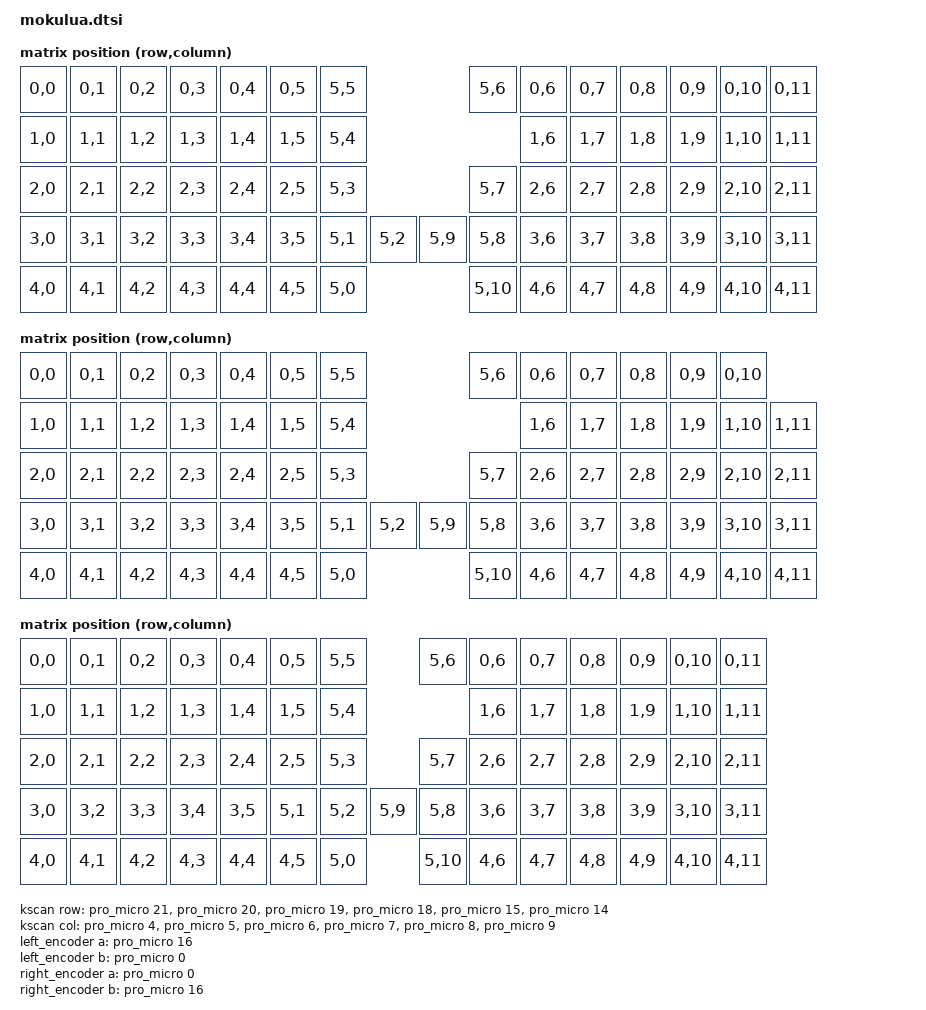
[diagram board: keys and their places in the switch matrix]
/*
 * Copyright (c) 2023 The ZMK Contributors
 *
 * SPDX-License-Identifier: MIT
 */

#include <dt-bindings/zmk/matrix_transform.h>

/ {
    chosen {
        zephyr,display = &oled;
        zmk,kscan = &kscan;
        zmk,matrix-transform = &standard_all_transform;
    };

    standard_all_transform: keymap_transform_0 {
        compatible = "zmk,matrix-transform";
        columns = <12>;
        rows = <6>;

        map = <
RC(0,0) RC(0,1) RC(0,2) RC(0,3) RC(0,4) RC(0,5) RC(5,5)                     RC(5,6) RC(0,6) RC(0,7) RC(0,8) RC(0,9) RC(0,10) RC(0,11)
RC(1,0) RC(1,1) RC(1,2) RC(1,3) RC(1,4) RC(1,5) RC(5,4)                             RC(1,6) RC(1,7) RC(1,8) RC(1,9) RC(1,10) RC(1,11)
RC(2,0) RC(2,1) RC(2,2) RC(2,3) RC(2,4) RC(2,5) RC(5,3)                     RC(5,7) RC(2,6) RC(2,7) RC(2,8) RC(2,9) RC(2,10) RC(2,11)
RC(3,0) RC(3,1) RC(3,2) RC(3,3) RC(3,4) RC(3,5) RC(5,1) RC(5,2)     RC(5,9) RC(5,8) RC(3,6) RC(3,7) RC(3,8) RC(3,9) RC(3,10) RC(3,11)
RC(4,0) RC(4,1) RC(4,2) RC(4,3) RC(4,4) RC(4,5) RC(5,0)                    RC(5,10) RC(4,6) RC(4,7) RC(4,8) RC(4,9) RC(4,10) RC(4,11)
        >;
    };

    standard_full_backspace_transform: keymap_transform_1 {
        compatible = "zmk,matrix-transform";
        columns = <12>;
        rows = <6>;

        map = <
RC(0,0) RC(0,1) RC(0,2) RC(0,3) RC(0,4) RC(0,5) RC(5,5)                     RC(5,6) RC(0,6) RC(0,7) RC(0,8) RC(0,9)     RC(0,10)
RC(1,0) RC(1,1) RC(1,2) RC(1,3) RC(1,4) RC(1,5) RC(5,4)                             RC(1,6) RC(1,7) RC(1,8) RC(1,9) RC(1,10) RC(1,11)
RC(2,0) RC(2,1) RC(2,2) RC(2,3) RC(2,4) RC(2,5) RC(5,3)                     RC(5,7) RC(2,6) RC(2,7) RC(2,8) RC(2,9) RC(2,10) RC(2,11)
RC(3,0) RC(3,1) RC(3,2) RC(3,3) RC(3,4) RC(3,5) RC(5,1) RC(5,2)     RC(5,9) RC(5,8) RC(3,6) RC(3,7) RC(3,8) RC(3,9) RC(3,10) RC(3,11)
RC(4,0) RC(4,1) RC(4,2) RC(4,3) RC(4,4) RC(4,5) RC(5,0)                    RC(5,10) RC(4,6) RC(4,7) RC(4,8) RC(4,9) RC(4,10) RC(4,11)
        >;
    };

    standard_full_lshift_transform: keymap_transform_2 {
        compatible = "zmk,matrix-transform";
        columns = <12>;
        rows = <6>;

        map = <
RC(0,0) RC(0,1) RC(0,2) RC(0,3) RC(0,4) RC(0,5) RC(5,5)                     RC(5,6) RC(0,6) RC(0,7) RC(0,8) RC(0,9) RC(0,10) RC(0,11)
RC(1,0) RC(1,1) RC(1,2) RC(1,3) RC(1,4) RC(1,5) RC(5,4)                             RC(1,6) RC(1,7) RC(1,8) RC(1,9) RC(1,10) RC(1,11)
RC(2,0) RC(2,1) RC(2,2) RC(2,3) RC(2,4) RC(2,5) RC(5,3)                     RC(5,7) RC(2,6) RC(2,7) RC(2,8) RC(2,9) RC(2,10) RC(2,11)
    RC(3,0)     RC(3,2) RC(3,3) RC(3,4) RC(3,5) RC(5,1) RC(5,2)     RC(5,9) RC(5,8) RC(3,6) RC(3,7) RC(3,8) RC(3,9) RC(3,10) RC(3,11)
RC(4,0) RC(4,1) RC(4,2) RC(4,3) RC(4,4) RC(4,5) RC(5,0)                    RC(5,10) RC(4,6) RC(4,7) RC(4,8) RC(4,9) RC(4,10) RC(4,11)
        >;
    };

    standard_full_rshift_transform: keymap_transform_3 {
        compatible = "zmk,matrix-transform";
        columns = <12>;
        rows = <6>;

        map = <
RC(0,0) RC(0,1) RC(0,2) RC(0,3) RC(0,4) RC(0,5) RC(5,5)                     RC(5,6) RC(0,6) RC(0,7) RC(0,8) RC(0,9) RC(0,10) RC(0,11)
RC(1,0) RC(1,1) RC(1,2) RC(1,3) RC(1,4) RC(1,5) RC(5,4)                             RC(1,6) RC(1,7) RC(1,8) RC(1,9) RC(1,10) RC(1,11)
RC(2,0) RC(2,1) RC(2,2) RC(2,3) RC(2,4) RC(2,5) RC(5,3)                     RC(5,7) RC(2,6) RC(2,7) RC(2,8) RC(2,9) RC(2,10) RC(2,11)
RC(3,0) RC(3,1) RC(3,2) RC(3,3) RC(3,4) RC(3,5) RC(5,1) RC(5,2)     RC(5,9) RC(5,8) RC(3,6) RC(3,7) RC(3,8) RC(3,9)      RC(3,11)
RC(4,0) RC(4,1) RC(4,2) RC(4,3) RC(4,4) RC(4,5) RC(5,0)                    RC(5,10) RC(4,6) RC(4,7) RC(4,8) RC(4,9) RC(4,10) RC(4,11)
        >;
    };

    standard_full_backspace_full_lshift_transform: keymap_transform_4 {
        compatible = "zmk,matrix-transform";
        columns = <12>;
        rows = <6>;

        map = <
RC(0,0) RC(0,1) RC(0,2) RC(0,3) RC(0,4) RC(0,5) RC(5,5)                     RC(5,6) RC(0,6) RC(0,7) RC(0,8) RC(0,9)     RC(0,10)
RC(1,0) RC(1,1) RC(1,2) RC(1,3) RC(1,4) RC(1,5) RC(5,4)                             RC(1,6) RC(1,7) RC(1,8) RC(1,9) RC(1,10) RC(1,11)
RC(2,0) RC(2,1) RC(2,2) RC(2,3) RC(2,4) RC(2,5) RC(5,3)                     RC(5,7) RC(2,6) RC(2,7) RC(2,8) RC(2,9) RC(2,10) RC(2,11)
    RC(3,0)     RC(3,2) RC(3,3) RC(3,4) RC(3,5) RC(5,1) RC(5,2)     RC(5,9) RC(5,8) RC(3,6) RC(3,7) RC(3,8) RC(3,9) RC(3,10) RC(3,11)
RC(4,0) RC(4,1) RC(4,2) RC(4,3) RC(4,4) RC(4,5) RC(5,0)                    RC(5,10) RC(4,6) RC(4,7) RC(4,8) RC(4,9) RC(4,10) RC(4,11)
        >;
    };

    standard_full_backspace_full_rshift_transform: keymap_transform_5 {
        compatible = "zmk,matrix-transform";
        columns = <12>;
        rows = <6>;

        map = <
RC(0,0) RC(0,1) RC(0,2) RC(0,3) RC(0,4) RC(0,5) RC(5,5)                     RC(5,6) RC(0,6) RC(0,7) RC(0,8) RC(0,9)     RC(0,10)
RC(1,0) RC(1,1) RC(1,2) RC(1,3) RC(1,4) RC(1,5) RC(5,4)                             RC(1,6) RC(1,7) RC(1,8) RC(1,9) RC(1,10) RC(1,11)
RC(2,0) RC(2,1) RC(2,2) RC(2,3) RC(2,4) RC(2,5) RC(5,3)                     RC(5,7) RC(2,6) RC(2,7) RC(2,8) RC(2,9) RC(2,10) RC(2,11)
RC(3,0) RC(3,1) RC(3,2) RC(3,3) RC(3,4) RC(3,5) RC(5,1) RC(5,2)     RC(5,9) RC(5,8) RC(3,6) RC(3,7) RC(3,8) RC(3,9)      RC(3,11)
RC(4,0) RC(4,1) RC(4,2) RC(4,3) RC(4,4) RC(4,5) RC(5,0)                    RC(5,10) RC(4,6) RC(4,7) RC(4,8) RC(4,9) RC(4,10) RC(4,11)
        >;
    };

    standard_full_backspace_full_lshift_full_rshift_transform: keymap_transform_6 {
        compatible = "zmk,matrix-transform";
        columns = <12>;
        rows = <6>;

        map = <
RC(0,0) RC(0,1) RC(0,2) RC(0,3) RC(0,4) RC(0,5) RC(5,5)                     RC(5,6) RC(0,6) RC(0,7) RC(0,8) RC(0,9)     RC(0,10)
RC(1,0) RC(1,1) RC(1,2) RC(1,3) RC(1,4) RC(1,5) RC(5,4)                             RC(1,6) RC(1,7) RC(1,8) RC(1,9) RC(1,10) RC(1,11)
RC(2,0) RC(2,1) RC(2,2) RC(2,3) RC(2,4) RC(2,5) RC(5,3)                     RC(5,7) RC(2,6) RC(2,7) RC(2,8) RC(2,9) RC(2,10) RC(2,11)
    RC(3,0)     RC(3,2) RC(3,3) RC(3,4) RC(3,5) RC(5,1) RC(5,2)     RC(5,9) RC(5,8) RC(3,6) RC(3,7) RC(3,8) RC(3,9)      RC(3,11)
RC(4,0) RC(4,1) RC(4,2) RC(4,3) RC(4,4) RC(4,5) RC(5,0)                    RC(5,10) RC(4,6) RC(4,7) RC(4,8) RC(4,9) RC(4,10) RC(4,11)
        >;
    };

    mirrored_all_transform: keymap_transform_7 {
        compatible = "zmk,matrix-transform";
        columns = <12>;
        rows = <6>;

        map = <
RC(0,0) RC(0,1) RC(0,2) RC(0,3) RC(0,4) RC(0,5) RC(5,5)                     RC(5,11) RC(0,11) RC(0,10) RC(0,9) RC(0,8) RC(0,7) RC(0,6)
RC(1,0) RC(1,1) RC(1,2) RC(1,3) RC(1,4) RC(1,5) RC(5,4)                     RC(5,10) RC(1,11) RC(1,10) RC(1,9) RC(1,8) RC(1,7) RC(1,6)
RC(2,0) RC(2,1) RC(2,2) RC(2,3) RC(2,4) RC(2,5) RC(5,3)                      RC(5,9) RC(2,11) RC(2,10) RC(2,9) RC(2,8) RC(2,7) RC(2,6)
RC(3,0) RC(3,1) RC(3,2) RC(3,3) RC(3,4) RC(3,5) RC(5,1) RC(5,2)     RC(5,8)  RC(5,7) RC(3,11) RC(3,10) RC(3,9) RC(3,8) RC(3,7) RC(3,6)
RC(4,0) RC(4,1) RC(4,2) RC(4,3) RC(4,4) RC(4,5) RC(5,0)                      RC(5,6) RC(4,11) RC(4,10) RC(4,9) RC(4,8) RC(4,7) RC(4,6)
        >;
    };

    mirrored_full_backspace_transform: keymap_transform_8 {
        compatible = "zmk,matrix-transform";
        columns = <12>;
        rows = <6>;

        map = <
RC(0,0) RC(0,1) RC(0,2) RC(0,3) RC(0,4) RC(0,5) RC(5,5)                     RC(5,11) RC(0,11) RC(0,10) RC(0,9) RC(0,8)     RC(0,6)
RC(1,0) RC(1,1) RC(1,2) RC(1,3) RC(1,4) RC(1,5) RC(5,4)                     RC(5,10) RC(1,11) RC(1,10) RC(1,9) RC(1,8) RC(1,7) RC(1,6)
RC(2,0) RC(2,1) RC(2,2) RC(2,3) RC(2,4) RC(2,5) RC(5,3)                      RC(5,9) RC(2,11) RC(2,10) RC(2,9) RC(2,8) RC(2,7) RC(2,6)
RC(3,0) RC(3,1) RC(3,2) RC(3,3) RC(3,4) RC(3,5) RC(5,1) RC(5,2)     RC(5,8)  RC(5,7) RC(3,11) RC(3,10) RC(3,9) RC(3,8) RC(3,7) RC(3,6)
RC(4,0) RC(4,1) RC(4,2) RC(4,3) RC(4,4) RC(4,5) RC(5,0)                      RC(5,6) RC(4,11) RC(4,10) RC(4,9) RC(4,8) RC(4,7) RC(4,6)
        >;
    };

    mirrored_full_lshift_transform: keymap_transform_9 {
        compatible = "zmk,matrix-transform";
        columns = <12>;
        rows = <6>;

        map = <
RC(0,0) RC(0,1) RC(0,2) RC(0,3) RC(0,4) RC(0,5) RC(5,5)                     RC(5,11) RC(0,11) RC(0,10) RC(0,9) RC(0,8) RC(0,7) RC(0,6)
RC(1,0) RC(1,1) RC(1,2) RC(1,3) RC(1,4) RC(1,5) RC(5,4)                     RC(5,10) RC(1,11) RC(1,10) RC(1,9) RC(1,8) RC(1,7) RC(1,6)
RC(2,0) RC(2,1) RC(2,2) RC(2,3) RC(2,4) RC(2,5) RC(5,3)                      RC(5,9) RC(2,11) RC(2,10) RC(2,9) RC(2,8) RC(2,7) RC(2,6)
    RC(3,0)     RC(3,2) RC(3,3) RC(3,4) RC(3,5) RC(5,1) RC(5,2)     RC(5,8)  RC(5,7) RC(3,11) RC(3,10) RC(3,9) RC(3,8) RC(3,7) RC(3,6)
RC(4,0) RC(4,1) RC(4,2) RC(4,3) RC(4,4) RC(4,5) RC(5,0)                      RC(5,6) RC(4,11) RC(4,10) RC(4,9) RC(4,8) RC(4,7) RC(4,6)
        >;
    };

    mirrored_full_rshift_transform: keymap_transform_10 {
        compatible = "zmk,matrix-transform";
        columns = <12>;
        rows = <6>;

        map = <
RC(0,0) RC(0,1) RC(0,2) RC(0,3) RC(0,4) RC(0,5) RC(5,5)                     RC(5,11) RC(0,11) RC(0,10) RC(0,9) RC(0,8) RC(0,7) RC(0,6)
RC(1,0) RC(1,1) RC(1,2) RC(1,3) RC(1,4) RC(1,5) RC(5,4)                     RC(5,10) RC(1,11) RC(1,10) RC(1,9) RC(1,8) RC(1,7) RC(1,6)
RC(2,0) RC(2,1) RC(2,2) RC(2,3) RC(2,4) RC(2,5) RC(5,3)                      RC(5,9) RC(2,11) RC(2,10) RC(2,9) RC(2,8) RC(2,7) RC(2,6)
RC(3,0) RC(3,1) RC(3,2) RC(3,3) RC(3,4) RC(3,5) RC(5,1) RC(5,2)     RC(5,8)  RC(5,7) RC(3,11) RC(3,10) RC(3,9) RC(3,8)     RC(3,6)
RC(4,0) RC(4,1) RC(4,2) RC(4,3) RC(4,4) RC(4,5) RC(5,0)                      RC(5,6) RC(4,11) RC(4,10) RC(4,9) RC(4,8) RC(4,7) RC(4,6)
        >;
    };

    mirrored_full_backspace_full_lshift_transform: keymap_transform_11 {
        compatible = "zmk,matrix-transform";
        columns = <12>;
        rows = <6>;

        map = <
RC(0,0) RC(0,1) RC(0,2) RC(0,3) RC(0,4) RC(0,5) RC(5,5)                     RC(5,11) RC(0,11) RC(0,10) RC(0,9) RC(0,8)     RC(0,6)
RC(1,0) RC(1,1) RC(1,2) RC(1,3) RC(1,4) RC(1,5) RC(5,4)                     RC(5,10) RC(1,11) RC(1,10) RC(1,9) RC(1,8) RC(1,7) RC(1,6)
RC(2,0) RC(2,1) RC(2,2) RC(2,3) RC(2,4) RC(2,5) RC(5,3)                      RC(5,9) RC(2,11) RC(2,10) RC(2,9) RC(2,8) RC(2,7) RC(2,6)
    RC(3,0)     RC(3,2) RC(3,3) RC(3,4) RC(3,5) RC(5,1) RC(5,2)     RC(5,8)  RC(5,7) RC(3,11) RC(3,10) RC(3,9) RC(3,8) RC(3,7) RC(3,6)
RC(4,0) RC(4,1) RC(4,2) RC(4,3) RC(4,4) RC(4,5) RC(5,0)                      RC(5,6) RC(4,11) RC(4,10) RC(4,9) RC(4,8) RC(4,7) RC(4,6)
        >;
    };

    mirrored_full_backspace_full_rshift_transform: keymap_transform_12 {
        compatible = "zmk,matrix-transform";
        columns = <12>;
        rows = <6>;

        map = <
RC(0,0) RC(0,1) RC(0,2) RC(0,3) RC(0,4) RC(0,5) RC(5,5)                     RC(5,11) RC(0,11) RC(0,10) RC(0,9) RC(0,8)     RC(0,6)
RC(1,0) RC(1,1) RC(1,2) RC(1,3) RC(1,4) RC(1,5) RC(5,4)                     RC(5,10) RC(1,11) RC(1,10) RC(1,9) RC(1,8) RC(1,7) RC(1,6)
RC(2,0) RC(2,1) RC(2,2) RC(2,3) RC(2,4) RC(2,5) RC(5,3)                      RC(5,9) RC(2,11) RC(2,10) RC(2,9) RC(2,8) RC(2,7) RC(2,6)
RC(3,0) RC(3,1) RC(3,2) RC(3,3) RC(3,4) RC(3,5) RC(5,1) RC(5,2)     RC(5,8)  RC(5,7) RC(3,11) RC(3,10) RC(3,9) RC(3,8)     RC(3,6)
RC(4,0) RC(4,1) RC(4,2) RC(4,3) RC(4,4) RC(4,5) RC(5,0)                      RC(5,6) RC(4,11) RC(4,10) RC(4,9) RC(4,8) RC(4,7) RC(4,6)
        >;
    };

    mirrored_full_backspace_full_lshift_full_rshift_transform: keymap_transform_13 {
        compatible = "zmk,matrix-transform";
        columns = <12>;
        rows = <6>;

        map = <
RC(0,0) RC(0,1) RC(0,2) RC(0,3) RC(0,4) RC(0,5) RC(5,5)                     RC(5,11) RC(0,11) RC(0,10) RC(0,9) RC(0,8)     RC(0,6)
RC(1,0) RC(1,1) RC(1,2) RC(1,3) RC(1,4) RC(1,5) RC(5,4)                     RC(5,10) RC(1,11) RC(1,10) RC(1,9) RC(1,8) RC(1,7) RC(1,6)
RC(2,0) RC(2,1) RC(2,2) RC(2,3) RC(2,4) RC(2,5) RC(5,3)                      RC(5,9) RC(2,11) RC(2,10) RC(2,9) RC(2,8) RC(2,7) RC(2,6)
    RC(3,0)     RC(3,2) RC(3,3) RC(3,4) RC(3,5) RC(5,1) RC(5,2)     RC(5,8)  RC(5,7) RC(3,11) RC(3,10) RC(3,9) RC(3,8)     RC(3,6)
RC(4,0) RC(4,1) RC(4,2) RC(4,3) RC(4,4) RC(4,5) RC(5,0)                      RC(5,6) RC(4,11) RC(4,10) RC(4,9) RC(4,8) RC(4,7) RC(4,6)
        >;
    };

    kscan: kscan {
        compatible = "zmk,kscan-gpio-matrix";
        diode-direction = "col2row";
        row-gpios
            = <&pro_micro 21 (GPIO_ACTIVE_HIGH | GPIO_PULL_DOWN)>
            , <&pro_micro 20 (GPIO_ACTIVE_HIGH | GPIO_PULL_DOWN)>
            , <&pro_micro 19 (GPIO_ACTIVE_HIGH | GPIO_PULL_DOWN)>
            , <&pro_micro 18 (GPIO_ACTIVE_HIGH | GPIO_PULL_DOWN)>
            , <&pro_micro 15 (GPIO_ACTIVE_HIGH | GPIO_PULL_DOWN)>
            , <&pro_micro 14 (GPIO_ACTIVE_HIGH | GPIO_PULL_DOWN)>
            ;

        col-gpios
            = <&pro_micro 4 GPIO_ACTIVE_HIGH>
            , <&pro_micro 5 GPIO_ACTIVE_HIGH>
            , <&pro_micro 6 GPIO_ACTIVE_HIGH>
            , <&pro_micro 7 GPIO_ACTIVE_HIGH>
            , <&pro_micro 8 GPIO_ACTIVE_HIGH>
            , <&pro_micro 9 GPIO_ACTIVE_HIGH>
            ;
    };

    left_encoder: encoder_0 {
        compatible = "alps,ec11";
        a-gpios = <&pro_micro 16 (GPIO_ACTIVE_HIGH | GPIO_PULL_UP)>;
        b-gpios = <&pro_micro 0 (GPIO_ACTIVE_HIGH | GPIO_PULL_UP)>;
        steps = <80>;
        status = "disabled";
    };

    right_encoder: encoder_1 {
        compatible = "alps,ec11";
        a-gpios = <&pro_micro 0 (GPIO_ACTIVE_HIGH | GPIO_PULL_UP)>;
        b-gpios = <&pro_micro 16 (GPIO_ACTIVE_HIGH | GPIO_PULL_UP)>;
        steps = <80>;
        status = "disabled";
    };

    sensors: sensors {
            compatible = "zmk,keymap-sensors";
            sensors = <&left_encoder &right_encoder>;
            triggers-per-rotation = <20>;
    };

};

&pro_micro_i2c {
    status = "okay";

    oled: ssd1306@3c {
        compatible = "solomon,ssd1306fb";
        reg = <0x3c>;
        width = <128>;
        height = <32>;
        segment-offset = <0>;
        page-offset = <0>;
        display-offset = <0>;
        multiplex-ratio = <31>;
        segment-remap;
        com-invdir;
        com-sequential;
        prechargep = <0x22>;
    };
};
